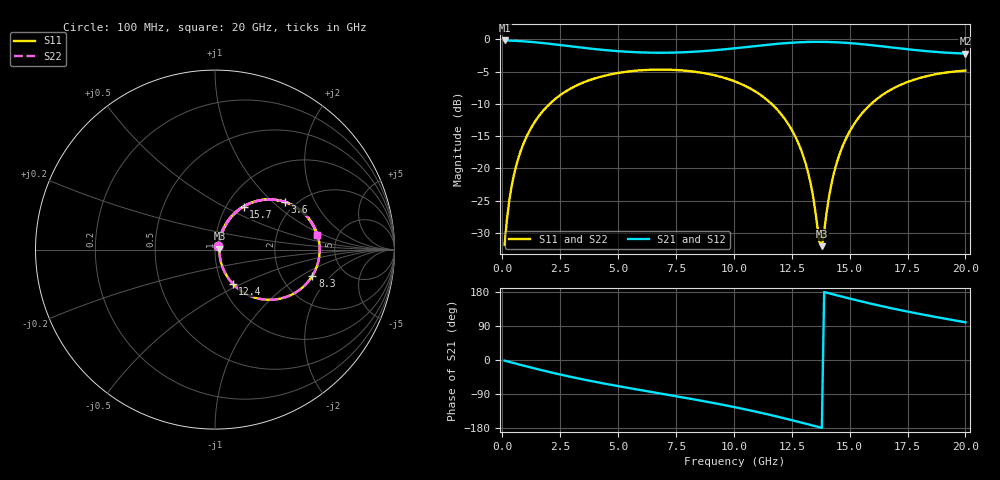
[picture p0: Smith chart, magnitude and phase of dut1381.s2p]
! Touchstone file exported from HFSS 2026.1.0
!  File:  C:/ffzhzh/LocalFiles/Ansys_Project_Files/temp_train_TSV_RDL_1381_1783348272_48288.aedt
!  Generated:  10:44:53 PM Jul  6, 2026
!  Design:  TSV_RDL
!  Project:  temp_train_TSV_RDL_1381_1783348272_48288
! Variables:
!  h_bsmrdl = 5.49um
!  h_ox = 20um
!  h_rdl = 5um
!  h_sub = 92.56um
!  h_tmrdl = 2.06um
!  h_tsv = 92.56um
!  h_via = 3um
!  l_bsmrdl = 991.41um
!  l_sub = 4314.76um
!  l_tmrdl = 201.24um
!  m_sub = 200um
!  pitch = 56.64um
!  r_tsv = 5.75um
!  s_tmrdl = 10um
!  w_bsmrdl = 21.21um
!  w_sub = 500um
!  w_tmrdl = 23.98um
!  x_tsv_center1 = 213.23um
!  x_tsv_center2 = 1225.85um
!  x_tsv_center3 = 1451.07um
!  x_tsv_center4 = 2463.69um
!  x_tsv_center5 = 2688.91um
!  x_tsv_center6 = 3701.53um
# GHz S MA R 50.000000
! Terminal data exported
! Port[1] = TM_RDL1_1_T1
! Port[2] = TM_RDL5_1_T1
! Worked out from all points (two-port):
!   200 points, 100 MHz to 20 GHz, reference 50 ohm
!   highest |S21| = -0.16 dB at 100 MHz (marker M1); lowest = -2.2 dB at 20 GHz (marker M2)
!   |S21| within 3 dB of the highest: start of sweep to end of sweep
!   lowest |S11| = -32.1 dB at 13.8 GHz (marker M3), VSWR 1.05, Z = 52.5 + j0.539 ohm
!   |S11| at or under -10 dB: start of sweep to 2.045 GHz; 11.63 GHz to 15.93 GHz (4.299 GHz wide, 31.2 % of centre)
!   |S22| runs from -32.1 to -4.7 dB; largest |S21 - S12| = 2.6e-14
!   S11 on the Smith chart (normalised r, x): 100 MHz: 1.04, +0.04; 3.6 GHz: 1.75, +1.20; 8.3 GHz: 2.97, -1.27; 12.4 GHz: 1.12, -0.45; 15.7 GHz: 1.20, +0.63; 20 GHz: 3.46, +0.85
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0.1  0.0255 43.3  0.9818 -1.7  0.9818 -1.7  0.0255 43.3
! Gamma 0 0 0 0
! Port Impedance 50 0 50 0
0.3  0.05599 65.0  0.9794 -5.0  0.9794 -5.0  0.05599 65.0
0.5  0.08852 68.7  0.9763 -8.2  0.9763 -8.2  0.08852 68.7
1.1  0.1841 65.5  0.9613 -17.7  0.9613 -17.7  0.1841 65.5
2.1  0.3232 53.1  0.9226 -32.7  0.9226 -32.7  0.3232 53.1
3.5  0.4635 35.6  0.8609 -51.4  0.8609 -51.4  0.4635 35.6
3.6  0.4711 34.4  0.8569 -52.6  0.8569 -52.6  0.4711 34.4
6.8  0.5836 0.3  0.7882 -88.2  0.7882 -88.2  0.5836 0.3
8.3  0.5619 -15.1  0.8029 -104.2  0.8029 -104.2  0.5619 -15.1
10.1  0.4682 -34.9  0.856 -125.2  0.856 -125.2  0.4682 -34.9
11.4  0.3437 -50.7  0.907 -142.5  0.907 -142.5  0.3437 -50.7
12.4  0.2136 -62.5  0.9406 -157.2  0.9406 -157.2  0.2135 -62.6
13  0.1244 -66.9  0.9535 -166.5  0.9535 -166.5  0.1244 -66.9
13.4  0.0637 -61.8  0.9577 -172.8  0.9577 -172.8  0.06364 -61.9
13.7  0.02661 -22.7  0.9583 -177.5  0.9583 -177.5  0.02648 -22.8
13.8  0.02493 11.9  0.958 -179.1  0.958 -179.1  0.0248 12.0
14.2  0.07345 64.0  0.9545 174.6  0.9545 174.6  0.07342 64.1
14.5  0.1188 66.9  0.9493 169.9  0.9493 169.9  0.1188 67.0
15  0.193 64.0  0.9367 162.2  0.9367 162.2  0.193 64.0
15.7  0.2881 56.3  0.9124 151.8  0.9124 151.8  0.2881 56.3
16.7  0.3998 44.2  0.8714 138.0  0.8714 138.0  0.3998 44.2
20  0.5732 8.3  0.7769 99.6  0.7769 99.6  0.5732 8.3
